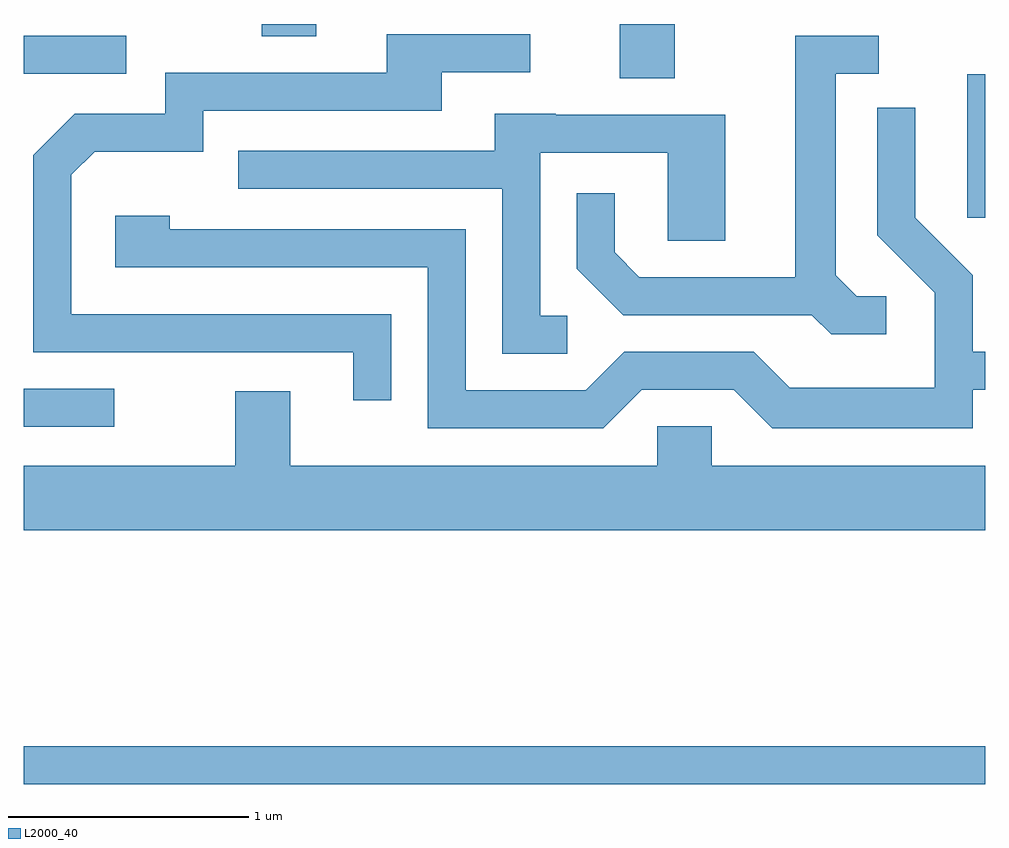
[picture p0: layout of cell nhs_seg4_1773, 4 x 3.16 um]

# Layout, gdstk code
import gdstk
lib = gdstk.Library(unit=1e-6, precision=1e-09)
def R(c, l, rs):  # rectangles x0, y0, x1, y1
    for r in rs: c.add(gdstk.rectangle(r[:2], r[2:], *l))
def P(c, l, *ps):  # polygons
    for p in ps: c.add(gdstk.Polygon(p, *l))
L2000_40 = (2000, 40)

nhs_seg4_1773 = lib.new_cell('nhs_seg4_1773')
R(nhs_seg4_1773, L2000_40, [(237.611,1264.821,241.611,1264.979), (237.611,1266.306,237.988,1266.464), (241.536,1267.176,241.611,1267.774), (240.091,1267.756,240.319,1267.982), (237.611,1267.776,238.038,1267.934), (238.601,1267.931,238.829,1267.982)])
P(nhs_seg4_1773, L2000_40, [(239.139,1266.774),(237.809,1266.774),(237.809,1267.354),(237.907,1267.451),(238.359,1267.451),(238.359,1267.621),(239.349,1267.621),(239.349,1267.781),(239.718,1267.781),(239.718,1267.939),(239.121,1267.939),(239.121,1267.779),(238.201,1267.779),(238.201,1267.609),(237.824,1267.609),(237.651,1267.437),(237.651,1266.616),(238.981,1266.616),(238.981,1266.418),(239.139,1266.418)],
  [(241.198,1266.849),(241.077,1266.849),(240.989,1266.937),(240.989,1267.776),(241.168,1267.776),(241.168,1267.934),(240.821,1267.934),(240.821,1266.929),(240.172,1266.929),(240.069,1267.032),(240.069,1267.278),(239.911,1267.278),(239.911,1266.964),(240.104,1266.771),(240.889,1266.771),(240.969,1266.691),(241.198,1266.691)],
  [(240.182,1266.461),(240.564,1266.461),(240.724,1266.301),(241.559,1266.301),(241.559,1266.461),(241.611,1266.461),(241.611,1266.619),(241.559,1266.619),(241.559,1266.937),(241.319,1267.177),(241.319,1267.633),(241.161,1267.633),(241.161,1267.104),(241.401,1266.864),(241.401,1266.469),(240.797,1266.469),(240.647,1266.619),(240.109,1266.619),(239.949,1266.459),(239.449,1266.459),(239.449,1267.129),(238.219,1267.129),(238.219,1267.184),(237.991,1267.184),(237.991,1266.971),(239.291,1266.971),(239.291,1266.301),(240.022,1266.301)],
  [(239.873,1266.769),(239.759,1266.769),(239.759,1267.446),(240.291,1267.446),(240.291,1267.081),(240.529,1267.081),(240.529,1267.604),(239.825,1267.604),(239.825,1267.609),(239.571,1267.609),(239.571,1267.454),(238.503,1267.454),(238.503,1267.296),(239.601,1267.296),(239.601,1266.611),(239.873,1266.611)],
  [(241.611,1266.144),(240.474,1266.144),(240.474,1266.309),(240.246,1266.309),(240.246,1266.144),(238.719,1266.144),(238.719,1266.454),(238.491,1266.454),(238.491,1266.144),(237.611,1266.144),(237.611,1265.876),(241.611,1265.876)])

lib.write_gds('nhs_seg4_1773.gds')
